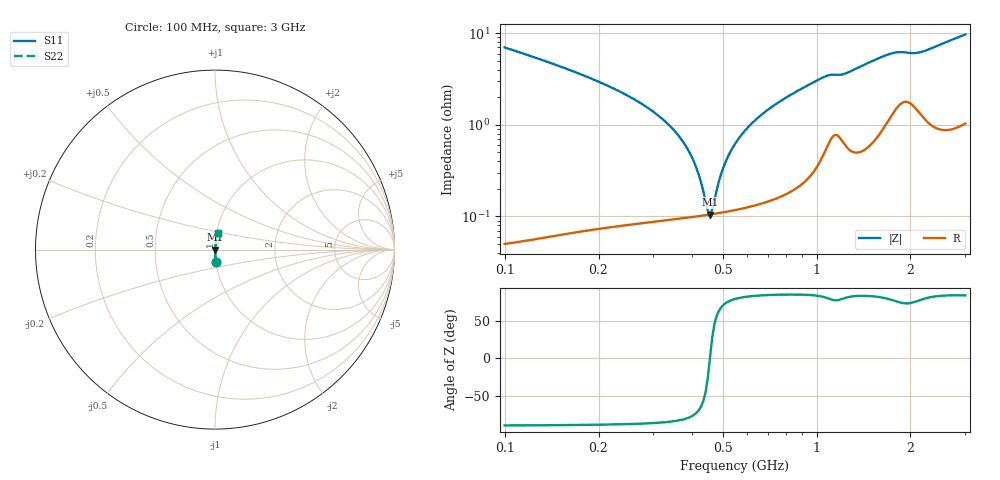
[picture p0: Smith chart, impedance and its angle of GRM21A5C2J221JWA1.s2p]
!Murata Part Number: GRM21A5C2J221JWA1
!These Parameters are Measured in Series Mode Connection
!Data Generated on Mar 30, 2021
!  o--ll--o
!Port1  Port2
!  o------o
!Operation Temp=25[degC], DC Bias Voltage=0[V]
!Freq. Start=100[MHz] Stop=3[GHz] 401[Steps]
# Hz S RI R 50
!Freq.(Hz) S11(Real) S11(Imag) S21(Real) S21(Imag) S12(Real) S12(Imag) S22(Real) S22(Imag)
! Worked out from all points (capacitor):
!   401 points, 100 MHz to 3 GHz, reference 50 ohm
!   read as one part in series: C = 216 pF near 114.5 MHz
!   lowest |Z| = 105 mohm at 455.2 MHz (marker M1)
!   series resonance near 455.1 MHz, so ESL is about 570 pH
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1e8  0.00539 -0.0697  0.9946 0.0697  0.9946 0.0697  0.00539 -0.0697
2.9575e8  0.00107 -0.0143  0.9989 0.0143  0.9989 0.0143  0.00107 -0.0143
3.5375e8  0.001 -0.00823  0.999 0.00823  0.999 0.00823  0.001 -0.00823
3.9725e8  0.001 -0.00441  0.999 0.00441  0.999 0.00441  0.001 -0.00441
4.19e8  0.00101 -0.00268  0.999 0.00268  0.999 0.00268  0.00101 -0.00268
4.4075e8  0.00103 -0.00104  0.999 0.00104  0.999 0.00104  0.00103 -0.00104
4.5525e8  0.00105 9.1e-06  0.999 -9.1e-06  0.999 -9.1e-06  0.00105 9.1e-06
4.6975e8  0.00107 0.00103  0.9989 -0.00103  0.9989 -0.00103  0.00107 0.00103
4.9875e8  0.00111 0.00298  0.9989 -0.00298  0.9989 -0.00298  0.00111 0.00298
5.205e8  0.00115 0.00438  0.9988 -0.00438  0.9988 -0.00438  0.00115 0.00438
5.495e8  0.00121 0.00617  0.9988 -0.00617  0.9988 -0.00617  0.00121 0.00617
5.8575e8  0.0013 0.00832  0.9987 -0.00832  0.9987 -0.00832  0.0013 0.00832
6.5825e8  0.00152 0.0124  0.9985 -0.0124  0.9985 -0.0124  0.00152 0.0124
7.5975e8  0.00193 0.0177  0.9981 -0.0177  0.9981 -0.0177  0.00193 0.0177
9.0475e8  0.00293 0.0251  0.9971 -0.0251  0.9971 -0.0251  0.00293 0.0251
1.0715e9  0.00648 0.0332  0.9935 -0.0332  0.9935 -0.0332  0.00648 0.0332
1.22375e9  0.00745 0.0349  0.9925 -0.0349  0.9925 -0.0349  0.00745 0.0349
1.55e9  0.00956 0.0506  0.9904 -0.0506  0.9904 -0.0506  0.00956 0.0506
1.78925e9  0.0178 0.058  0.9822 -0.058  0.9822 -0.058  0.0178 0.058
2.03575e9  0.0193 0.0564  0.9807 -0.0564  0.9807 -0.0564  0.0193 0.0564
2.5215e9  0.0144 0.0744  0.9856 -0.0744  0.9856 -0.0744  0.0144 0.0744
3e9  0.0192 0.0937  0.9808 -0.0937  0.9808 -0.0937  0.0192 0.0937
